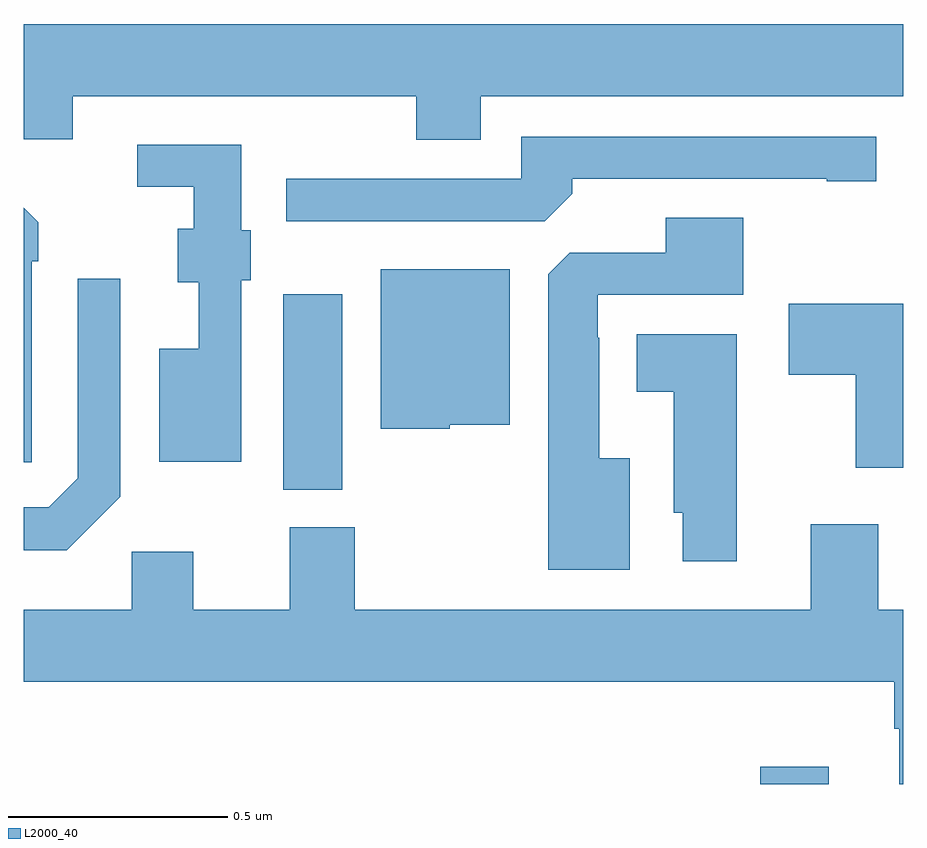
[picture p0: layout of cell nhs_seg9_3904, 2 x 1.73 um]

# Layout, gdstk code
import gdstk
lib = gdstk.Library(unit=1e-6, precision=1e-09)
def R(c, l, rs):  # rectangles x0, y0, x1, y1
    for r in rs: c.add(gdstk.rectangle(r[:2], r[2:], *l))
def P(c, l, *ps):  # polygons
    for p in ps: c.add(gdstk.Polygon(p, *l))
L2000_40 = (2000, 40)

nhs_seg9_3904 = lib.new_cell('nhs_seg9_3904')
R(nhs_seg9_3904, L2000_40, [(160.675,1217.5,160.831,1217.539), (159.59,1218.169,159.724,1218.613)])
P(nhs_seg9_3904, L2000_40, [(160.039,1219.064),(161,1219.064),(161,1219.228),(159,1219.228),(159,1218.966),(159.112,1218.966),(159.112,1219.064),(159.892,1219.064),(159.892,1218.965),(160.039,1218.965)],
  [(160.247,1218.842),(160.247,1218.876),(160.826,1218.876),(160.826,1218.871),(160.939,1218.871),(160.939,1218.972),(160.131,1218.972),(160.131,1218.876),(159.597,1218.876),(159.597,1218.78),(160.185,1218.78)],
  [(159.495,1218.645),(159.516,1218.645),(159.516,1218.759),(159.495,1218.759),(159.495,1218.954),(159.258,1218.954),(159.258,1218.858),(159.387,1218.858),(159.387,1218.763),(159.35,1218.763),(159.35,1218.641),(159.398,1218.641),(159.398,1218.49),(159.308,1218.49),(159.308,1218.233),(159.495,1218.233)],
  [(159.018,1218.689),(159.033,1218.689),(159.033,1218.777),(159,1218.81),(159,1218.231),(159.018,1218.231)],
  [(160.378,1218.241),(160.309,1218.241),(160.309,1218.515),(160.305,1218.515),(160.305,1218.612),(160.636,1218.612),(160.636,1218.787),(160.46,1218.787),(160.46,1218.708),(160.242,1218.708),(160.193,1218.659),(160.193,1217.987),(160.378,1217.987)],
  [(159.969,1218.317),(160.105,1218.317),(160.105,1218.67),(159.812,1218.67),(159.812,1218.308),(159.969,1218.308)],
  [(159.219,1218.153),(159.219,1218.649),(159.123,1218.649),(159.123,1218.195),(159.057,1218.129),(159,1218.129),(159,1218.032),(159.098,1218.032)],
  [(161,1218.592),(160.74,1218.592),(160.74,1218.43),(160.892,1218.43),(160.892,1218.219),(161,1218.219)],
  [(160.621,1218.523),(160.394,1218.523),(160.394,1218.392),(160.478,1218.392),(160.478,1218.117),(160.499,1218.117),(160.499,1218.006),(160.621,1218.006)],
  [(161,1217.896),(160.943,1217.896),(160.943,1218.091),(160.79,1218.091),(160.79,1217.896),(159.753,1217.896),(159.753,1218.084),(159.605,1218.084),(159.605,1217.896),(159.385,1217.896),(159.385,1218.028),(159.246,1218.028),(159.246,1217.896),(159,1217.896),(159,1217.732),(160.979,1217.732),(160.979,1217.626),(160.991,1217.626),(160.991,1217.5),(161,1217.5)])

lib.write_gds('nhs_seg9_3904.gds')
